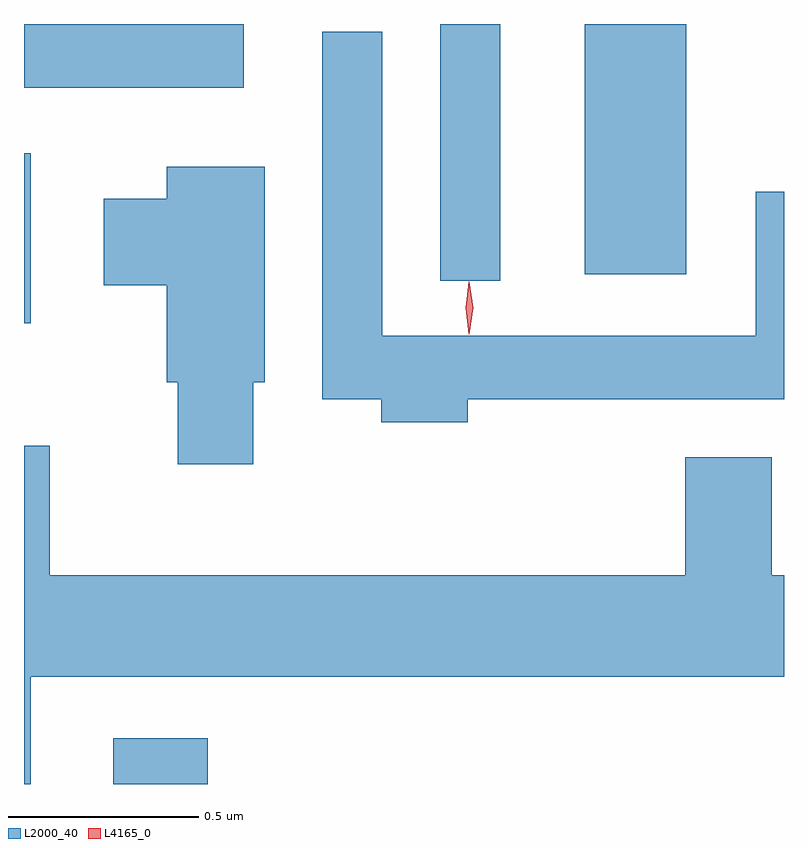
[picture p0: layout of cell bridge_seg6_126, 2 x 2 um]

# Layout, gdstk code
import gdstk
lib = gdstk.Library(unit=1e-6, precision=1e-09)
def R(c, l, rs):  # rectangles x0, y0, x1, y1
    for r in rs: c.add(gdstk.rectangle(r[:2], r[2:], *l))
def P(c, l, *ps):  # polygons
    for p in ps: c.add(gdstk.Polygon(p, *l))
L2000_40 = (2000, 40)
L4165_0 = (4165, 0)

bridge_seg6_126 = lib.new_cell('bridge_seg6_126')
R(bridge_seg6_126, L2000_40, [(1221.896,1658.534,1222.144,1658.654), (1221.661,1659.746,1221.679,1660.194), (1222.756,1659.858,1222.914,1660.534), (1223.136,1659.876,1223.404,1660.534), (1221.661,1660.366,1222.239,1660.534)])
P(bridge_seg6_126, L2000_40, [(1222.829,1659.546),(1223.661,1659.546),(1223.661,1660.093),(1223.586,1660.093),(1223.586,1659.714),(1222.604,1659.714),(1222.604,1660.513),(1222.446,1660.513),(1222.446,1659.546),(1222.601,1659.546),(1222.601,1659.486),(1222.829,1659.486)],
  [(1222.264,1659.591),(1222.294,1659.591),(1222.294,1660.159),(1222.036,1660.159),(1222.036,1660.074),(1221.871,1660.074),(1221.871,1659.846),(1222.036,1659.846),(1222.036,1659.591),(1222.066,1659.591),(1222.066,1659.376),(1222.264,1659.376)],
  [(1221.679,1658.816),(1223.661,1658.816),(1223.661,1659.084),(1223.629,1659.084),(1223.629,1659.394),(1223.401,1659.394),(1223.401,1659.084),(1221.729,1659.084),(1221.729,1659.424),(1221.661,1659.424),(1221.661,1658.534),(1221.679,1658.534)])
P(bridge_seg6_126, L4165_0, [(1222.832,1659.717),(1222.823,1659.787),(1222.832,1659.856),(1222.833,1659.856),(1222.833,1659.856),(1222.843,1659.787),(1222.833,1659.717),(1222.833,1659.717)])

lib.write_gds('bridge_seg6_126.gds')
